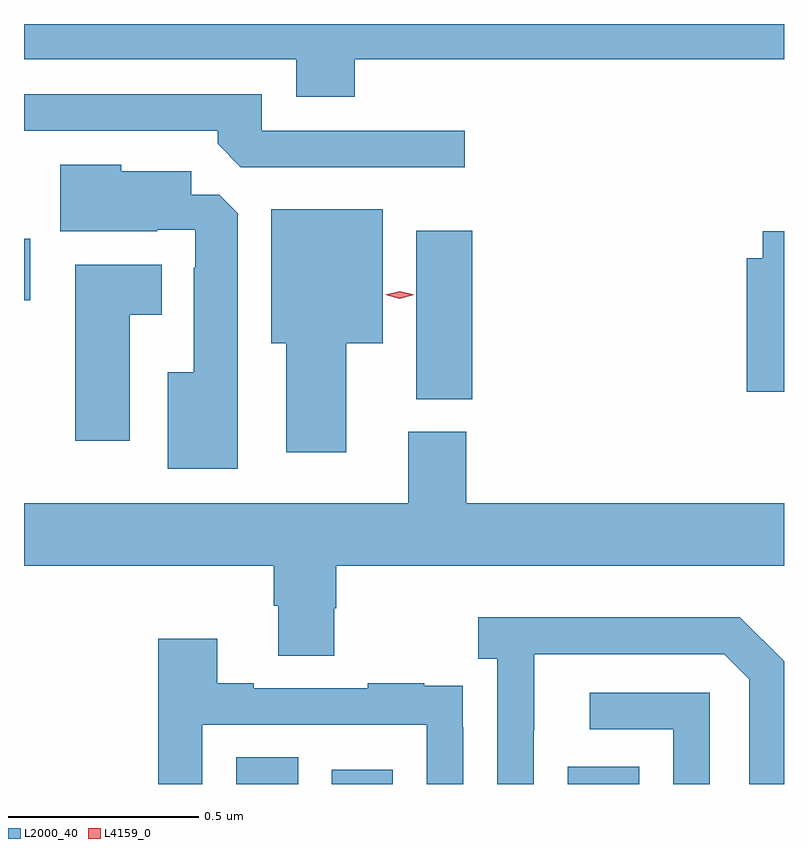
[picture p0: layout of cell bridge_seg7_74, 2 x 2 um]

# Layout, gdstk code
import gdstk
lib = gdstk.Library(unit=1e-6, precision=1e-09)
def R(c, l, rs):  # rectangles x0, y0, x1, y1
    for r in rs: c.add(gdstk.rectangle(r[:2], r[2:], *l))
def P(c, l, *ps):  # polygons
    for p in ps: c.add(gdstk.Polygon(p, *l))
L2000_40 = (2000, 40)
L4159_0 = (4159, 0)

bridge_seg7_74 = lib.new_cell('bridge_seg7_74')
R(bridge_seg7_74, L2000_40, [(1084.622,1036.005,1084.786,1036.076), (1084.874,1036.005,1085.035,1036.042), (1085.495,1036.005,1085.683,1036.051), (1085.096,1037.017,1085.243,1037.461), (1084.064,1037.278,1084.081,1037.44)])
P(bridge_seg7_74, L2000_40, [(1084.934,1037.912),(1086.064,1037.912),(1086.064,1038.005),(1084.064,1038.005),(1084.064,1037.912),(1084.781,1037.912),(1084.781,1037.813),(1084.934,1037.813)],
  [(1085.224,1037.724),(1084.689,1037.724),(1084.689,1037.82),(1084.064,1037.82),(1084.064,1037.724),(1084.574,1037.724),(1084.574,1037.69),(1084.635,1037.628),(1085.224,1037.628)],
  [(1084.627,1037.507),(1084.578,1037.556),(1084.504,1037.556),(1084.504,1037.617),(1084.32,1037.617),(1084.32,1037.635),(1084.16,1037.635),(1084.16,1037.459),(1084.415,1037.459),(1084.415,1037.463),(1084.515,1037.463),(1084.515,1037.363),(1084.511,1037.363),(1084.511,1037.089),(1084.442,1037.089),(1084.442,1036.835),(1084.627,1036.835)],
  [(1084.912,1037.165),(1085.008,1037.165),(1085.008,1037.518),(1084.715,1037.518),(1084.715,1037.165),(1084.754,1037.165),(1084.754,1036.878),(1084.912,1036.878)],
  [(1086.064,1037.46),(1086.008,1037.46),(1086.008,1037.389),(1085.966,1037.389),(1085.966,1037.037),(1086.064,1037.037)],
  [(1084.342,1037.24),(1084.426,1037.24),(1084.426,1037.371),(1084.199,1037.371),(1084.199,1036.908),(1084.342,1036.908)],
  [(1084.881,1036.467),(1084.886,1036.467),(1084.886,1036.58),(1086.064,1036.58),(1086.064,1036.744),(1085.228,1036.744),(1085.228,1036.932),(1085.075,1036.932),(1085.075,1036.744),(1084.064,1036.744),(1084.064,1036.58),(1084.721,1036.58),(1084.721,1036.474),(1084.733,1036.474),(1084.733,1036.342),(1084.881,1036.342)],
  [(1085.406,1036.147),(1085.407,1036.147),(1085.407,1036.347),(1085.907,1036.347),(1085.973,1036.281),(1085.973,1036.005),(1086.064,1036.005),(1086.064,1036.328),(1085.948,1036.444),(1085.259,1036.444),(1085.259,1036.334),(1085.31,1036.334),(1085.31,1036.005),(1085.406,1036.005)],
  [(1084.533,1036.161),(1085.124,1036.161),(1085.124,1036.005),(1085.22,1036.005),(1085.22,1036.154),(1085.219,1036.154),(1085.219,1036.263),(1085.117,1036.263),(1085.117,1036.27),(1084.969,1036.27),(1084.969,1036.257),(1084.669,1036.257),(1084.669,1036.27),(1084.573,1036.27),(1084.573,1036.387),(1084.417,1036.387),(1084.417,1036.005),(1084.533,1036.005)],
  [(1085.868,1036.245),(1085.553,1036.245),(1085.553,1036.149),(1085.772,1036.149),(1085.772,1036.005),(1085.868,1036.005)])
P(bridge_seg7_74, L4159_0, [(1085.053,1037.282),(1085.015,1037.292),(1085.014,1037.293),(1085.015,1037.293),(1085.053,1037.302),(1085.091,1037.292),(1085.091,1037.292),(1085.091,1037.292)])

lib.write_gds('bridge_seg7_74.gds')
